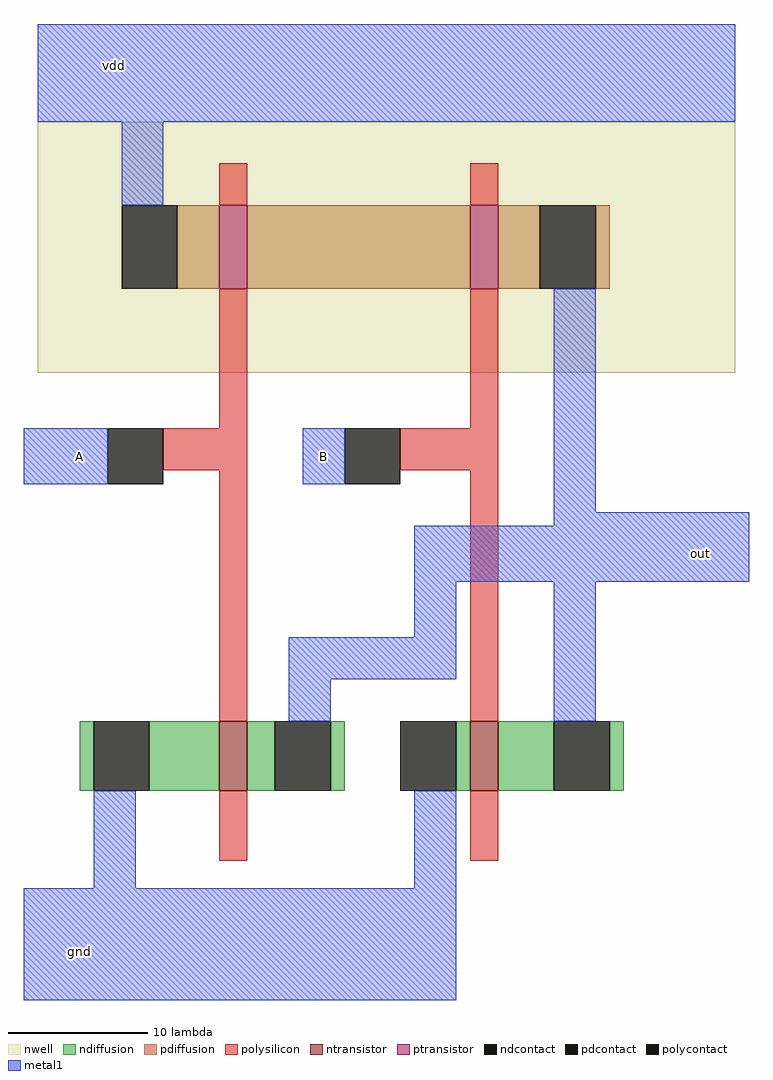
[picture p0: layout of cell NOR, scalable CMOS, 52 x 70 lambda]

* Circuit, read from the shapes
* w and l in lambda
.subckt NOR A B gnd out vdd
M1 out A gnd VSUBS nfet w=5 l=2
M2 out B gnd VSUBS nfet w=5 l=2
M3 n1 A vdd n2 pfet w=6 l=2
M4 out B n1 n2 pfet w=6 l=2
.ends

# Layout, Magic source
magic
tech scmos
<< nwell >>
rect -19 1 31 19
<< ntransistor >>
rect -6 -29 -4 -24
rect 12 -29 14 -24
<< ptransistor >>
rect -6 7 -4 13
rect 12 7 14 13
<< ndiffusion >>
rect -16 -29 -15 -24
rect -11 -29 -6 -24
rect -4 -29 -2 -24
rect 2 -29 3 -24
rect 11 -29 12 -24
rect 14 -29 18 -24
rect 22 -29 23 -24
<< pdiffusion >>
rect -9 7 -6 13
rect -4 7 12 13
rect 14 7 17 13
rect 21 7 22 13
<< ndcontact >>
rect -15 -29 -11 -24
rect -2 -29 2 -24
rect 7 -29 11 -24
rect 18 -29 22 -24
<< pdcontact >>
rect -13 7 -9 13
rect 17 7 21 13
<< polysilicon >>
rect -6 13 -4 16
rect 12 13 14 16
rect -6 -3 -4 7
rect 12 -3 14 7
rect -10 -6 -4 -3
rect -6 -24 -4 -6
rect 7 -6 14 -3
rect 12 -24 14 -6
rect -6 -34 -4 -29
rect 12 -34 14 -29
<< polycontact >>
rect -14 -7 -10 -3
rect 3 -7 7 -3
<< metal1 >>
rect -19 19 31 26
rect -13 13 -10 19
rect -20 -7 -14 -3
rect 0 -7 3 -3
rect 18 -9 21 7
rect 18 -10 32 -9
rect 8 -14 32 -10
rect 8 -18 11 -14
rect -1 -21 11 -18
rect -1 -24 2 -21
rect 18 -24 21 -14
rect -15 -36 -12 -29
rect 8 -36 11 -29
rect -20 -44 11 -36
<< labels >>
rlabel metal1 -16 22 -11 24 5 vdd
rlabel metal1 26 -13 31 -11 7 out
rlabel metal1 1 -6 2 -4 1 B
rlabel metal1 -19 -42 -13 -39 2 gnd
rlabel metal1 -17 -6 -15 -4 3 A
<< end >>
